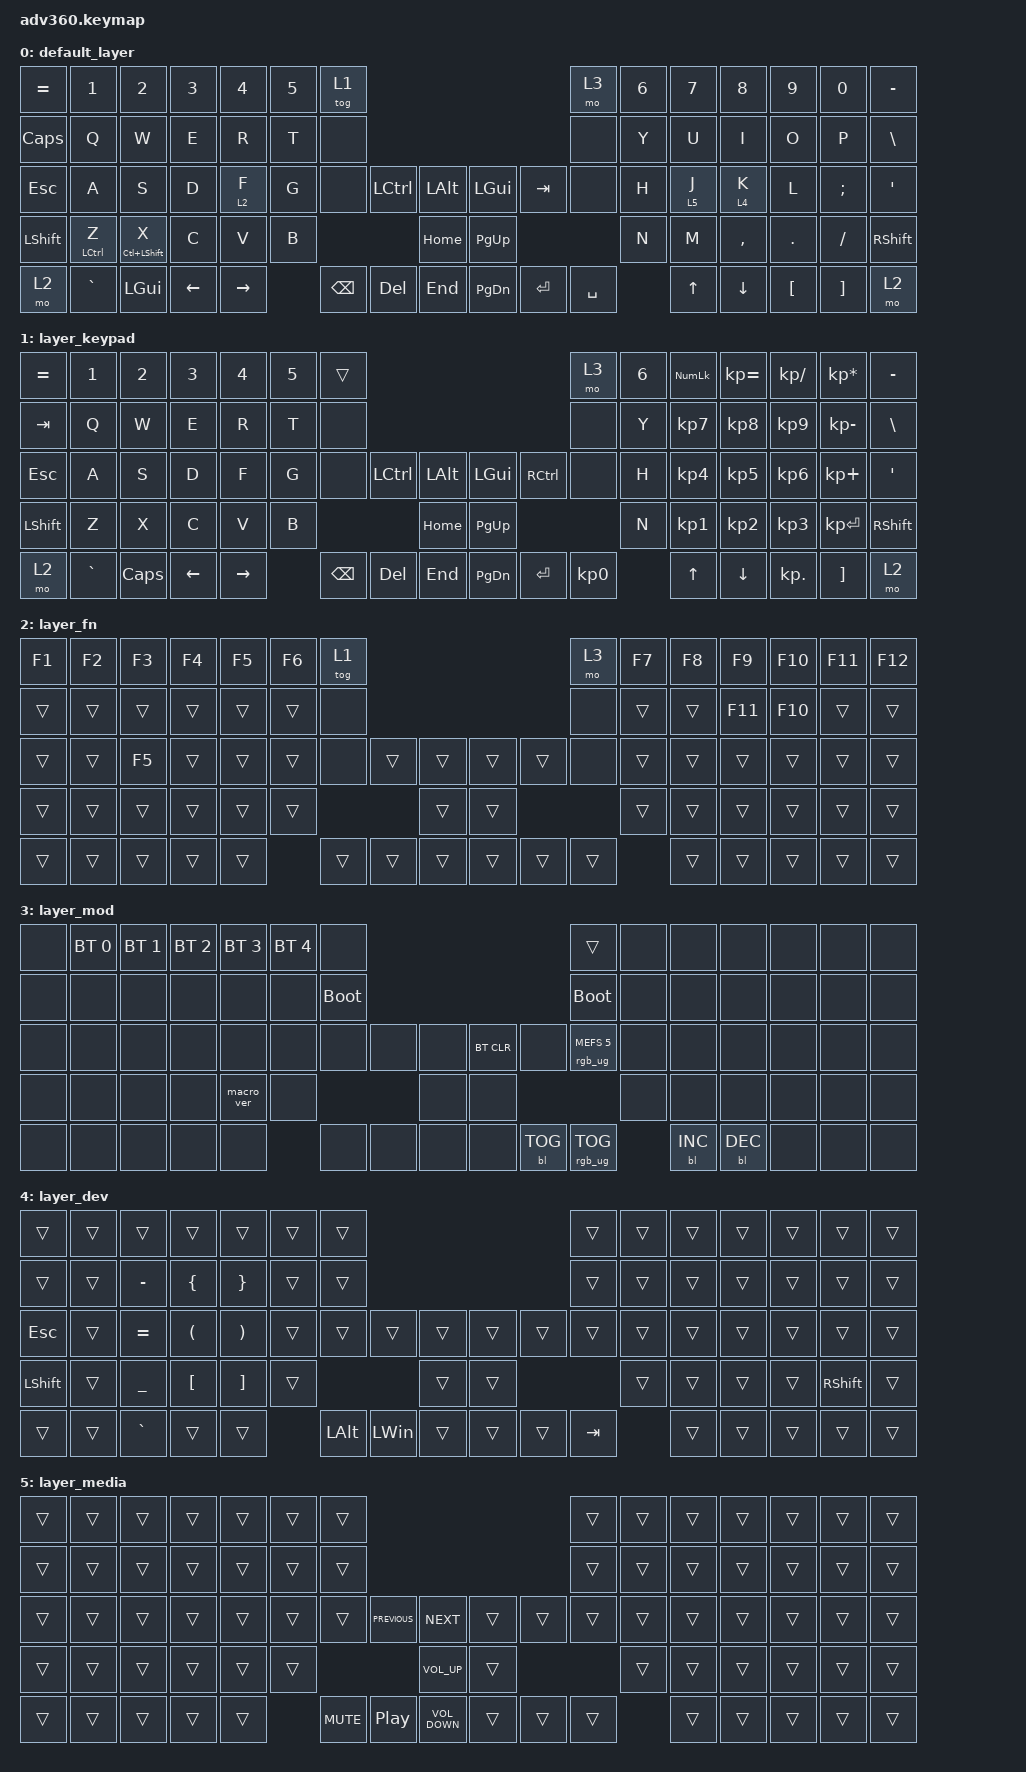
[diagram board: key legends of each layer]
/*
 * Copyright (c) 2020 The ZMK Contributors
 *
 * SPDX-License-Identifier: MIT
 */
/* THIS FILE WAS GENERATED!
 *
 * This file was generated automatically. You may or may not want to
 * edit it directly.
 */

#include <behaviors.dtsi>
#include <dt-bindings/zmk/backlight.h>
#include <dt-bindings/zmk/bt.h>
#include <dt-bindings/zmk/keys.h>
#include <dt-bindings/zmk/rgb.h>

&lt { quick-tap-ms = <175>; };

/ {
    behaviors {
        #include "macros.dtsi"
    #include "version.dtsi"

        hm: homerow_mods {
            compatible = "zmk,behavior-hold-tap";
            label = "HOMEROW_MODS";
            #binding-cells = <2>;
            tapping-term-ms = <200>;
            quick_tap_ms = <175>;
            flavor = "tap-preferred";
            bindings = <&kp>, <&kp>;
        };
    };

    keymap {
        compatible = "zmk,keymap";

        default_layer {
            bindings = <
&kp EQUAL  &kp N1              &kp N2                &kp N3    &kp N4     &kp N5  &tog 1                                                   &mo 3      &kp N6  &kp N7   &kp N8     &kp N9    &kp N0    &kp MINUS
&kp CAPS   &kp Q               &kp W                 &kp E     &kp R      &kp T   &none                                                    &none      &kp Y   &kp U    &kp I      &kp O     &kp P     &kp BSLH
&kp ESC    &kp A               &kp S                 &kp D     &lt 2 F    &kp G   &none     &kp LCTRL  &kp LALT      &kp LGUI   &kp TAB    &none      &kp H   &lt 5 J  &lt 4 K    &kp L     &kp SEMI  &kp SQT
&kp LSHFT  &mt LEFT_CONTROL Z  &mt LC(LEFT_SHIFT) X  &kp C     &kp V      &kp B                        &kp HOME      &kp PG_UP                        &kp N   &kp M    &kp COMMA  &kp DOT   &kp FSLH  &kp RSHFT
&mo 2      &kp GRAVE           &kp LEFT_GUI          &kp LEFT  &kp RIGHT          &kp BSPC  &kp DEL    &kp END       &kp PG_DN  &kp ENTER  &kp SPACE          &kp UP   &kp DOWN   &kp LBKT  &kp RBKT  &mo 2
            >;
        };

        layer_keypad {
            bindings = <
&kp EQUAL  &kp N1     &kp N2    &kp N3    &kp N4     &kp N5  &trans                                                   &mo 3      &kp N6  &kp KP_NUM  &kp KP_EQUAL  &kp KP_DIVIDE  &kp KP_MULTIPLY  &kp MINUS
&kp TAB    &kp Q      &kp W     &kp E     &kp R      &kp T   &none                                                    &none      &kp Y   &kp KP_N7   &kp KP_N8     &kp KP_N9      &kp KP_MINUS     &kp BSLH
&kp ESC    &kp A      &kp S     &kp D     &kp F      &kp G   &none     &kp LCTRL  &kp LALT      &kp LGUI   &kp RCTRL  &none      &kp H   &kp KP_N4   &kp KP_N5     &kp KP_N6      &kp KP_PLUS      &kp SQT
&kp LSHFT  &kp Z      &kp X     &kp C     &kp V      &kp B                        &kp HOME      &kp PG_UP                        &kp N   &kp KP_N1   &kp KP_N2     &kp KP_N3      &kp KP_ENTER     &kp RSHFT
&mo 2      &kp GRAVE  &kp CAPS  &kp LEFT  &kp RIGHT          &kp BSPC  &kp DEL    &kp END       &kp PG_DN  &kp ENTER  &kp KP_N0          &kp UP      &kp DOWN      &kp KP_DOT     &kp RBKT         &mo 2
            >;
        };

        layer_fn {
            bindings = <
&kp F1  &kp F2  &kp F3  &kp F4  &kp F5  &kp F6  &tog 1                                      &mo 3   &kp F7  &kp F8  &kp F9   &kp F10  &kp F11  &kp F12
&trans  &trans  &trans  &trans  &trans  &trans  &none                                       &none   &trans  &trans  &kp F11  &kp F10  &trans   &trans
&trans  &trans  &kp F5  &trans  &trans  &trans  &none   &trans  &trans      &trans  &trans  &none   &trans  &trans  &trans   &trans   &trans   &trans
&trans  &trans  &trans  &trans  &trans  &trans                  &trans      &trans                  &trans  &trans  &trans   &trans   &trans   &trans
&trans  &trans  &trans  &trans  &trans          &trans  &trans  &trans      &trans  &trans  &trans          &trans  &trans   &trans   &trans   &trans
            >;
        };

        layer_mod {
            bindings = <
&none  &bt BT_SEL 0  &bt BT_SEL 1  &bt BT_SEL 2  &bt BT_SEL 3  &bt BT_SEL 4  &none                                                  &trans                  &none  &none       &none       &none  &none  &none
&none  &none         &none         &none         &none         &none         &bootloader                                            &bootloader             &none  &none       &none       &none  &none  &none
&none  &none         &none         &none         &none         &none         &none        &none  &none      &bt BT_CLR  &none       &rgb_ug RGB_MEFS_CMD 5  &none  &none       &none       &none  &none  &none
&none  &none         &none         &none         &macro_ver    &none                             &none      &none                                           &none  &none       &none       &none  &none  &none
&none  &none         &none         &none         &none                       &none        &none  &none      &none       &bl BL_TOG  &rgb_ug RGB_TOG                &bl BL_INC  &bl BL_DEC  &none  &none  &none
            >;
        };

        layer_dev {
            bindings = <
&trans          &trans  &trans          &trans                &trans                 &trans  &trans                                                  &trans   &trans  &trans  &trans  &trans  &trans           &trans
&trans          &trans  &kp MINUS       &kp LEFT_BRACE        &kp RIGHT_BRACE        &trans  &trans                                                  &trans   &trans  &trans  &trans  &trans  &trans           &trans
&kp ESC         &trans  &kp EQUAL       &kp LEFT_PARENTHESIS  &kp RIGHT_PARENTHESIS  &trans  &trans        &trans        &trans      &trans  &trans  &trans   &trans  &trans  &trans  &trans  &trans           &trans
&kp LEFT_SHIFT  &trans  &kp UNDERSCORE  &kp LEFT_BRACKET      &kp RIGHT_BRACKET      &trans                              &trans      &trans                   &trans  &trans  &trans  &trans  &kp RIGHT_SHIFT  &trans
&trans          &trans  &kp GRAVE       &trans                &trans                         &kp LEFT_ALT  &kp LEFT_WIN  &trans      &trans  &trans  &kp TAB          &trans  &trans  &trans  &trans           &trans
            >;
        };

        layer_media {
            bindings = <
&trans  &trans  &trans  &trans  &trans  &trans  &trans                                                               &trans  &trans  &trans  &trans  &trans  &trans  &trans
&trans  &trans  &trans  &trans  &trans  &trans  &trans                                                               &trans  &trans  &trans  &trans  &trans  &trans  &trans
&trans  &trans  &trans  &trans  &trans  &trans  &trans      &kp C_PREVIOUS    &kp C_NEXT             &trans  &trans  &trans  &trans  &trans  &trans  &trans  &trans  &trans
&trans  &trans  &trans  &trans  &trans  &trans                                &kp C_VOLUME_UP        &trans                  &trans  &trans  &trans  &trans  &trans  &trans
&trans  &trans  &trans  &trans  &trans          &kp C_MUTE  &kp C_PLAY_PAUSE  &kp C_VOLUME_DOWN      &trans  &trans  &trans          &trans  &trans  &trans  &trans  &trans
            >;
        };
    };
};
